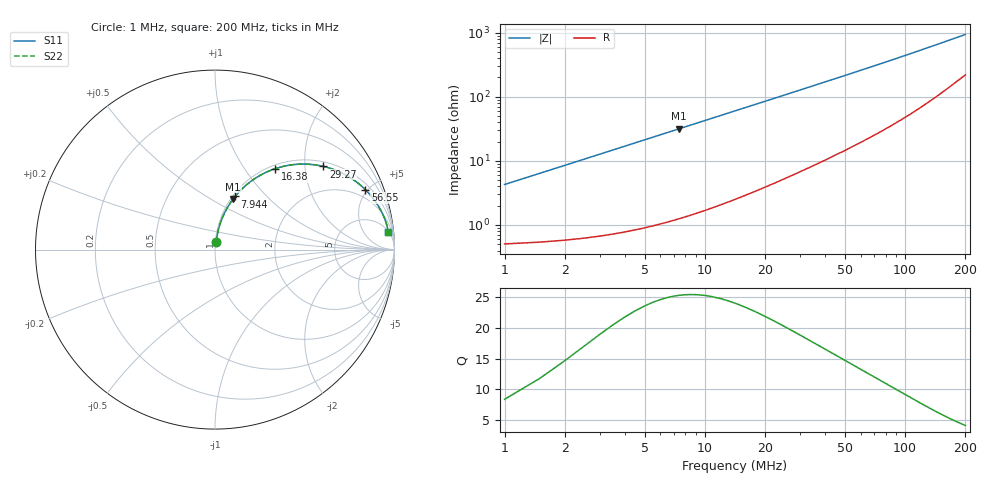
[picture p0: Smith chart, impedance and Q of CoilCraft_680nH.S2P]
! Coilcraft 0805LS-681 Chip Inductor
! 18 September 2002
# MHZ S MA R 50
!Freq  MagS11  AngS11  MagS21  AngS21  MagS12  AngS12  MagS22  AngS22
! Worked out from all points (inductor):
!   403 points, 1 MHz to 200 MHz, reference 50 ohm
!   read as one part in series: L = 677 nH near 1.992 MHz
!   highest Q = 25.3 at 7.448 MHz (marker M1), where L = 677 nH
!   S11 on the Smith chart (normalised r, x): 1 MHz: 1.01, +0.09; 7.944 MHz: 1.03, +0.68; 16.38 MHz: 1.06, +1.39; 29.27 MHz: 1.13, +2.49; 56.55 MHz: 1.35, +4.85; 200 MHz: 5, +18
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1  0.04258 80.8  0.9941 -2.4  0.9941 -2.4  0.04258 80.8
1.496  0.06339 81.5  0.9926 -3.6  0.9926 -3.6  0.06339 81.5
2.488  0.1048 80.6  0.9884 -6.0  0.9884 -6.0  0.1048 80.6
2.984  0.1252 79.8  0.9855 -7.2  0.9855 -7.2  0.1252 79.8
3.976  0.1656 77.8  0.9786 -9.5  0.9786 -9.5  0.1656 77.8
5.464  0.2245 74.7  0.9652 -13.0  0.9652 -13.0  0.2245 74.7
7.448  0.2988 70.4  0.9426 -17.4  0.9426 -17.4  0.2988 70.4
7.944  0.3165 69.3  0.9362 -18.4  0.9362 -18.4  0.3165 69.3
9.432  0.3675 66.2  0.9156 -21.5  0.9156 -21.5  0.3675 66.2
11.416  0.4303 62.2  0.8856 -25.5  0.8856 -25.5  0.4303 62.2
13.896  0.5001 57.6  0.8455 -30.0  0.8455 -30.0  0.5001 57.6
16.376  0.5607 53.5  0.8042 -34.1  0.8042 -34.1  0.5607 53.5
21.832  0.6656 45.6  0.7156 -41.7  0.7156 -41.7  0.6656 45.6
29.272  0.7613 37.5  0.6096 -49.5  0.6096 -49.5  0.7613 37.5
34.232  0.8046 33.3  0.5503 -53.4  0.5503 -53.4  0.8046 33.3
44.152  0.8617 27.0  0.4556 -59.3  0.4556 -59.3  0.8617 27.0
56.552  0.9022 21.7  0.3707 -64.1  0.3707 -64.1  0.9022 21.7
67.464  0.9234 18.4  0.3165 -67.0  0.3165 -67.0  0.9234 18.4
100.696  0.9535 12.3  0.2148 -71.4  0.2148 -71.4  0.9535 12.3
133.928  0.9644 9.1  0.1598 -72.6  0.1598 -72.6  0.9644 9.1
167.16  0.9689 7.1  0.1259 -72.2  0.1259 -72.2  0.9689 7.1
200  0.9707 5.8  0.1035 -70.7  0.1035 -70.7  0.9707 5.8
